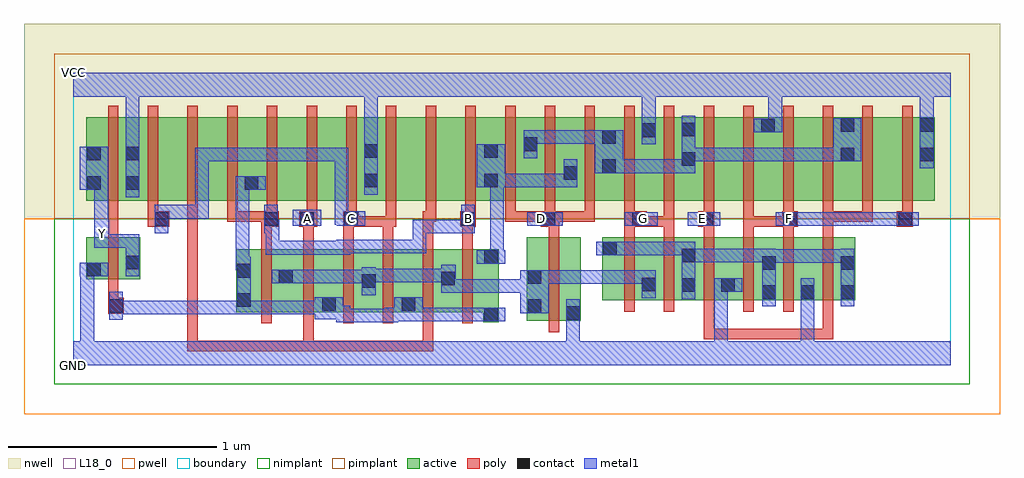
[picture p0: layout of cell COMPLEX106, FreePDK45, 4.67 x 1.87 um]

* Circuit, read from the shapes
.subckt COMPLEX106 A B C D E F G GND VCC Y
M1 Y n1 GND VSUBS nfet w=0.2u l=0.05u
M2 n2 B n1 VSUBS nfet w=0.3u l=0.05u m=2
M3 n1 A n2 VSUBS nfet w=0.3u l=0.05u m=2
M4 n2 C n1 VSUBS nfet w=0.3u l=0.05u m=2
M5 GND D n2 VSUBS nfet w=0.4u l=0.05u
M6 n2 G n3 VSUBS nfet w=0.3u l=0.05u m=2
M7 GND E n3 VSUBS nfet w=0.3u l=0.05u m=2
M8 n3 F GND VSUBS nfet w=0.3u l=0.05u m=2
M9 VCC n1 Y n4 pfet w=0.4u l=0.05u
M10 n5 C VCC n4 pfet w=0.4u l=0.05u
M11 n6 A n5 n4 pfet w=0.4u l=0.05u
M12 n1 B n6 n4 pfet w=0.4u l=0.05u
M13 n7 B n1 n4 pfet w=0.4u l=0.05u
M14 n8 A n7 n4 pfet w=0.4u l=0.05u
M15 VCC C n8 n4 pfet w=0.4u l=0.05u
M16 n9 C VCC n4 pfet w=0.4u l=0.05u
M17 n10 A n9 n4 pfet w=0.4u l=0.05u
M18 n1 B n10 n4 pfet w=0.4u l=0.05u
M19 n11 D n1 n4 pfet w=0.4u l=0.05u m=3
M20 VCC G n11 n4 pfet w=0.4u l=0.05u m=2
M21 n12 E n11 n4 pfet w=0.4u l=0.05u
M22 VCC F n12 n4 pfet w=0.4u l=0.05u
M23 n13 F VCC n4 pfet w=0.4u l=0.05u
M24 n11 E n13 n4 pfet w=0.4u l=0.05u
M25 n14 E n11 n4 pfet w=0.4u l=0.05u
M26 VCC F n14 n4 pfet w=0.4u l=0.05u
.ends

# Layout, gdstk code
import gdstk
lib = gdstk.Library(unit=1e-6, precision=1e-09)
def R(c, l, rs):  # rectangles x0, y0, x1, y1
    for r in rs: c.add(gdstk.rectangle(r[:2], r[2:], *l))
def A(c, l, x, y, w, h, nx, ny, dx, dy):  # array of equal rectangles
    R(c, l, [(x+i*dx, y+j*dy, x+i*dx+w, y+j*dy+h) for i in range(nx) for j in range(ny)])
active = (1, 0)
pwell = (2, 0)
nwell = (3, 0)
nimplant = (4, 0)
pimplant = (5, 0)
poly = (9, 0)
contact = (10, 0)
metal1 = (11, 0)
L18_0 = (18, 0)
boundary = (235, 0)

complex106 = lib.new_cell('COMPLEX106')
A(complex106, active, 1.187, 0.255, 0.265, 0.3, 3, 1, 0.19, 0)
A(complex106, active, 0.247, 0.787, 0.23, 0.4, 3, 1, 0.57, 0)
A(complex106, active, 0.477, 0.787, 0.19, 0.4, 3, 1, 0.57, 0)
A(complex106, active, 2.527, 0.787, 0.075, 0.4, 3, 1, 0.19, 0)
A(complex106, active, 2.907, 0.787, 0.23, 0.4, 3, 1, 0.38, 0)
A(complex106, active, 3.137, 0.787, 0.225, 0.4, 3, 1, 0.38, 0)
R(complex106, active, [(1.962,0.205,2.037,0.555), (2.17,0.212,2.43,0.612), (2.17,0.212,2.245,0.612), (2.355,0.212,2.43,0.492), (0.78,0.255,0.855,0.555), (0.78,0.255,1.055,0.555), (0.98,0.255,1.262,0.555), (1.187,0.255,1.262,0.437), (1.567,0.255,1.642,0.437), (1.757,0.255,2.037,0.555), (2.532,0.312,2.792,0.612), (2.717,0.312,2.982,0.612), (2.717,0.312,2.792,0.597), (2.907,0.312,2.982,0.612), (2.907,0.312,3.172,0.612), (3.097,0.312,3.367,0.612), (3.097,0.312,3.172,0.597), (3.292,0.312,3.367,0.612), (3.292,0.312,3.552,0.612), (3.477,0.312,3.742,0.612), (3.477,0.312,3.552,0.437), (3.667,0.312,3.742,0.612), (0.98,0.33,1.055,0.462), (1.377,0.33,1.452,0.517), (1.757,0.33,1.832,0.452), (2.532,0.33,2.607,0.612), (0.062,0.412,0.137,0.612), (0.062,0.412,0.322,0.612), (0.247,0.412,0.322,0.612), (0.062,0.787,0.322,1.187), (0.062,0.787,0.137,1.187), (0.247,0.787,0.322,1.187), (0.667,0.787,0.892,1.187), (0.817,0.787,0.892,1.07), (1.237,0.787,1.462,1.187), (1.387,0.787,1.462,1.187), (1.807,0.787,2.037,1.187), (1.962,0.787,2.037,1.187), (1.962,0.787,2.227,1.187), (2.152,0.787,2.417,1.187), (2.342,0.787,2.602,1.187), (2.342,0.787,2.417,1.07), (2.527,0.787,2.792,1.187), (2.717,0.787,2.982,1.187), (3.667,0.787,3.742,1.187), (4.047,0.787,4.122,1.187), (2.152,0.802,2.227,1.187), (3.287,0.827,3.362,1.187)])
R(complex106, pwell, [(-0.235,-0.235,4.435,0.7)])
R(complex106, nwell, [(-0.235,0.7,4.435,1.635)])
R(complex106, nimplant, [(-0.09,-0.09,4.29,0.7)])
R(complex106, pimplant, [(-0.09,0.7,4.29,1.49)])
A(complex106, poly, 1.102, 0.2, 0.05, 0.41, 5, 1, 0.19, 0)
A(complex106, poly, 2.637, 0.257, 0.05, 0.41, 6, 1, 0.19, 0)
A(complex106, poly, 1.102, 0.56, 0.05, 0.152, 3, 1, 0.19, 0)
A(complex106, poly, 2.637, 0.617, 0.05, 0.095, 5, 1, 0.19, 0)
A(complex106, poly, 0.737, 0.687, 0.05, 0.095, 4, 1, 0.19, 0)
A(complex106, poly, 1.687, 0.687, 0.05, 0.095, 6, 1, 0.19, 0)
A(complex106, poly, 3.397, 0.687, 0.05, 0.095, 4, 1, 0.19, 0)
A(complex106, poly, 0.167, 0.732, 0.05, 0.51, 21, 1, 0.19, 0)
R(complex106, poly, [(0.547,0.067,0.597,0.117), (0.547,0.067,0.597,0.117), (0.547,0.067,0.597,0.117), (0.547,0.067,0.597,0.117), (0.547,0.067,0.597,0.117), (0.547,0.067,0.597,0.117), (0.547,0.067,0.597,0.117), (0.547,0.067,0.597,0.117), (0.547,0.067,0.597,0.117), (0.547,0.067,0.73,0.117), (0.547,0.067,0.597,0.782), (0.68,0.067,0.73,0.117), (0.68,0.067,0.73,0.117), (0.68,0.067,0.73,0.117), (0.68,0.067,1,0.117), (0.95,0.067,1,0.117), (0.95,0.067,1,0.117), (0.95,0.067,1,0.117), (0.95,0.067,1.152,0.117), (1.102,0.067,1.152,0.117), (1.102,0.067,1.152,0.117), (1.102,0.067,1.152,0.117), (1.102,0.067,1.152,0.25), (1.102,0.067,1.285,0.117), (1.235,0.067,1.285,0.117), (1.235,0.067,1.285,0.117), (1.235,0.067,1.285,0.117), (1.235,0.067,1.59,0.117), (1.54,0.067,1.59,0.117), (1.54,0.067,1.59,0.117), (1.54,0.067,1.59,0.117), (1.54,0.067,1.722,0.117), (1.672,0.067,1.722,0.117), (1.672,0.067,1.722,0.117), (1.672,0.067,1.722,0.117), (1.672,0.067,1.722,0.25), (3.017,0.125,3.067,0.175), (3.017,0.125,3.067,0.175), (3.017,0.125,3.067,0.175), (3.017,0.125,3.067,0.307), (3.017,0.125,3.31,0.175), (3.26,0.125,3.31,0.175), (3.26,0.125,3.31,0.175), (3.26,0.125,3.31,0.175), (3.26,0.125,3.505,0.175), (3.455,0.125,3.505,0.175), (3.455,0.125,3.637,0.175), (3.587,0.125,3.637,0.175), (3.587,0.125,3.637,0.175), (3.587,0.125,3.637,0.175), (3.587,0.125,3.637,0.307), (2.275,0.157,2.325,0.667), (0.9,0.2,0.95,0.61), (0.167,0.247,0.242,0.322), (0.167,0.272,0.217,0.407), (0.167,0.357,0.217,0.667), (0.9,0.56,0.95,0.712), (1.672,0.56,1.722,0.737), (1.862,0.56,1.912,0.712), (0.167,0.617,0.217,0.737), (2.275,0.617,2.325,0.712), (3.587,0.617,3.637,0.737), (0.357,0.662,0.46,0.737), (0.9,0.662,0.985,0.737), (1.082,0.662,1.167,0.737), (1.292,0.662,1.367,0.737), (1.317,0.662,1.417,0.712), (1.367,0.662,1.417,0.712), (1.367,0.662,1.532,0.712), (1.482,0.662,1.547,0.712), (1.497,0.662,1.547,0.782), (1.852,0.662,1.927,0.737), (2.237,0.662,2.325,0.737), (2.637,0.662,2.745,0.737), (2.695,0.662,2.877,0.712), (2.827,0.662,2.877,0.712), (2.827,0.662,2.877,0.712), (2.827,0.662,2.877,0.712), (2.827,0.662,2.877,0.782), (2.992,0.662,3.067,0.737), (3.207,0.662,3.257,0.712), (3.207,0.662,3.257,0.712), (3.207,0.662,3.257,0.712), (3.207,0.662,3.257,0.782), (3.207,0.662,3.442,0.712), (3.392,0.662,3.467,0.737), (3.942,0.662,4.017,0.737), (0.167,0.687,0.217,0.782), (0.167,0.687,0.217,0.737), (0.357,0.687,0.407,0.782), (0.737,0.687,0.787,0.737), (0.737,0.687,0.95,0.737), (0.9,0.687,0.95,0.737), (0.9,0.687,0.95,0.737), (1.672,0.687,1.737,0.737), (2.067,0.687,2.117,0.737), (2.067,0.687,2.287,0.737), (2.237,0.687,2.287,0.737), (2.237,0.687,2.287,0.737), (2.275,0.687,2.497,0.737), (2.447,0.687,2.497,0.737), (2.447,0.687,2.497,0.737), (2.447,0.687,2.497,0.737), (3.017,0.687,3.067,0.782), (3.587,0.687,3.637,0.737), (3.587,0.687,3.827,0.737), (3.777,0.687,3.827,0.737), (3.777,0.687,3.827,0.737), (3.777,0.687,3.827,0.737)])
R(complex106, contact, [(1.967,0.21,2.032,0.275), (2.36,0.217,2.425,0.282), (2.175,0.25,2.24,0.315), (0.172,0.252,0.237,0.317), (1.192,0.26,1.257,0.325), (1.572,0.26,1.637,0.325), (0.785,0.28,0.85,0.345), (3.297,0.317,3.362,0.382), (3.482,0.317,3.547,0.382), (3.672,0.317,3.737,0.382), (2.912,0.352,2.977,0.417), (3.102,0.352,3.167,0.417), (2.722,0.355,2.787,0.42), (1.382,0.37,1.447,0.435), (1.762,0.382,1.827,0.447), (2.175,0.39,2.24,0.455), (0.985,0.392,1.05,0.457), (0.785,0.42,0.85,0.485), (0.067,0.425,0.132,0.49), (3.297,0.457,3.362,0.522), (3.672,0.457,3.737,0.522), (0.252,0.46,0.317,0.525), (1.967,0.485,2.032,0.55), (2.912,0.492,2.977,0.557), (2.537,0.527,2.602,0.592), (0.39,0.667,0.455,0.732), (0.915,0.667,0.98,0.732), (1.087,0.667,1.152,0.732), (1.297,0.667,1.362,0.732), (1.857,0.667,1.922,0.732), (2.242,0.667,2.307,0.732), (2.675,0.667,2.74,0.732), (2.997,0.667,3.062,0.732), (3.397,0.667,3.462,0.732), (3.947,0.667,4.012,0.732), (0.067,0.84,0.132,0.905), (0.252,0.84,0.317,0.905), (0.822,0.84,0.887,0.905), (1.392,0.852,1.457,0.917), (1.967,0.852,2.032,0.917), (2.347,0.887,2.412,0.952), (2.532,0.92,2.597,0.985), (2.912,0.955,2.977,1.02), (3.672,0.977,3.737,1.042), (4.052,0.977,4.117,1.042), (0.067,0.98,0.132,1.045), (0.252,0.98,0.317,1.045), (1.392,0.992,1.457,1.057), (1.967,0.992,2.032,1.057), (2.157,1.025,2.222,1.09), (2.532,1.06,2.597,1.125), (2.722,1.092,2.787,1.157), (2.912,1.095,2.977,1.16), (3.292,1.115,3.357,1.18), (3.672,1.117,3.737,1.182), (4.052,1.117,4.117,1.182)])
R(complex106, metal1, [(0,0,4.2,0.115), (0.035,0.05,0.1,0.115), (0.035,0.05,0.1,0.115), (0.035,0.05,0.1,0.115), (0.035,0.05,0.1,0.115), (0.035,0.05,0.1,0.115), (0.035,0.05,0.1,0.115), (0.035,0.05,0.1,0.49), (2.36,0.05,2.425,0.115), (2.36,0.05,2.425,0.115), (2.36,0.05,2.425,0.247), (3.067,0.05,3.132,0.115), (3.067,0.05,3.132,0.115), (3.067,0.05,3.132,0.34), (3.482,0.05,3.547,0.115), (3.482,0.05,3.547,0.115), (3.482,0.05,3.547,0.115), (3.482,0.05,3.547,0.115), (3.482,0.05,3.547,0.347), (2.36,0.182,2.425,0.317), (1.26,0.205,1.455,0.27), (1.26,0.205,1.325,0.285), (1.39,0.205,1.455,0.27), (1.39,0.205,1.555,0.27), (1.49,0.205,1.555,0.275), (1.49,0.21,1.602,0.275), (1.537,0.21,1.672,0.325), (1.607,0.21,1.692,0.275), (1.627,0.21,1.692,0.275), (1.627,0.21,1.86,0.275), (1.795,0.21,1.86,0.275), (1.795,0.21,1.86,0.275), (1.795,0.21,1.86,0.275), (1.795,0.21,1.997,0.275), (1.932,0.21,2.067,0.275), (0.172,0.217,0.237,0.352), (1.157,0.22,1.292,0.325), (1.227,0.22,1.325,0.285), (0.172,0.245,0.375,0.31), (0.31,0.245,0.375,0.31), (0.31,0.245,0.375,0.31), (0.31,0.245,0.375,0.31), (0.31,0.245,0.512,0.31), (0.447,0.245,0.512,0.31), (0.447,0.245,0.65,0.31), (0.585,0.245,0.65,0.31), (0.585,0.245,0.65,0.31), (0.585,0.245,0.65,0.31), (0.585,0.245,0.787,0.31), (0.722,0.245,0.787,0.31), (0.722,0.245,0.85,0.31), (0.785,0.245,0.85,0.52), (0.785,0.245,0.925,0.31), (0.86,0.245,0.925,0.31), (0.86,0.245,1.085,0.31), (1.02,0.245,1.085,0.31), (1.02,0.245,1.117,0.31), (1.052,0.245,1.117,0.31), (1.052,0.245,1.222,0.31), (2.14,0.25,2.275,0.455), (3.067,0.275,3.132,0.34), (3.067,0.275,3.132,0.417), (3.297,0.282,3.362,0.557), (3.482,0.282,3.547,0.417), (3.672,0.282,3.737,0.557), (2.912,0.317,2.977,0.592), (2.722,0.32,2.787,0.455), (1.382,0.335,1.447,0.47), (1.762,0.347,1.83,0.482), (1.765,0.347,1.83,0.412), (1.765,0.347,1.83,0.412), (1.765,0.347,2.06,0.412), (1.995,0.347,2.06,0.412), (1.995,0.347,2.06,0.412), (1.995,0.347,2.06,0.412), (1.995,0.347,2.205,0.412), (3.067,0.352,3.202,0.417), (2.21,0.39,2.412,0.455), (2.347,0.39,2.412,0.455), (2.347,0.39,2.412,0.455), (2.347,0.39,2.412,0.455), (2.347,0.39,2.565,0.455), (2.5,0.39,2.565,0.455), (2.5,0.39,2.565,0.455), (2.5,0.39,2.565,0.455), (2.5,0.39,2.702,0.455), (2.637,0.39,2.702,0.455), (2.637,0.39,2.787,0.455), (0.95,0.392,1.085,0.457), (1.02,0.392,1.117,0.457), (1.052,0.392,1.117,0.457), (1.052,0.392,1.222,0.457), (1.157,0.392,1.222,0.457), (1.157,0.392,1.417,0.457), (1.352,0.392,1.417,0.457), (1.352,0.392,1.447,0.457), (1.382,0.397,1.555,0.462), (1.49,0.397,1.555,0.462), (1.49,0.397,1.69,0.462), (1.625,0.397,1.69,0.462), (1.625,0.397,1.692,0.462), (1.627,0.397,1.692,0.462), (1.627,0.397,1.827,0.462), (0.032,0.425,0.167,0.49), (0.252,0.425,0.317,0.56), (0.777,0.455,0.842,0.52), (0.777,0.455,0.842,0.52), (0.777,0.455,0.842,0.52), (0.777,0.455,0.842,0.52), (0.777,0.455,0.842,0.905), (0.777,0.455,0.85,0.52), (0.785,0.455,0.85,0.52), (1.932,0.485,2.067,0.55), (1.995,0.485,2.06,0.55), (1.995,0.485,2.06,0.55), (1.995,0.485,2.06,0.917), (3.297,0.49,3.362,0.555), (3.297,0.49,3.362,0.555), (3.297,0.49,3.565,0.555), (3.5,0.49,3.565,0.555), (3.5,0.49,3.635,0.555), (3.57,0.49,3.635,0.555), (3.57,0.49,3.737,0.555), (2.912,0.492,2.977,0.557), (2.912,0.492,2.977,0.557), (2.912,0.492,3.115,0.557), (3.05,0.492,3.115,0.557), (3.05,0.492,3.115,0.557), (3.05,0.492,3.115,0.557), (3.05,0.492,3.362,0.557), (0.252,0.495,0.317,0.627), (2.502,0.527,2.637,0.592), (2.572,0.527,2.702,0.592), (2.637,0.527,2.702,0.592), (2.637,0.527,2.84,0.592), (2.775,0.527,2.84,0.592), (2.775,0.527,2.84,0.592), (2.775,0.527,2.84,0.592), (2.775,0.527,2.977,0.592), (0.922,0.53,0.987,0.595), (0.922,0.53,1.117,0.595), (0.922,0.53,0.987,0.697), (1.052,0.53,1.117,0.595), (1.052,0.53,1.29,0.595), (1.225,0.53,1.29,0.595), (1.225,0.53,1.325,0.595), (1.26,0.53,1.325,0.6), (1.26,0.535,1.455,0.6), (1.39,0.535,1.455,0.6), (1.39,0.535,1.555,0.6), (1.49,0.535,1.555,0.6), (1.49,0.535,1.69,0.6), (1.625,0.535,1.69,0.6), (1.625,0.535,1.69,0.697), (0.102,0.562,0.172,0.697), (0.107,0.562,0.317,0.627), (0.252,0.562,0.317,0.627), (0.102,0.632,0.167,0.697), (0.102,0.632,0.167,0.697), (0.102,0.632,0.167,0.905), (0.39,0.632,0.455,0.767), (0.915,0.632,0.98,0.767), (0.915,0.632,0.987,0.697), (0.922,0.632,0.987,0.697), (1.625,0.632,1.69,0.697), (1.625,0.632,1.692,0.697), (1.627,0.632,1.692,0.697), (1.627,0.632,1.86,0.697), (1.795,0.632,1.86,0.697), (1.795,0.632,1.922,0.697), (1.857,0.632,1.922,0.767), (1.052,0.667,1.187,0.745), (1.262,0.667,1.397,0.737), (2.172,0.667,2.342,0.732), (2.64,0.667,2.797,0.732), (2.942,0.667,3.097,0.732), (3.362,0.667,3.497,0.732), (3.432,0.667,3.565,0.732), (3.5,0.667,3.565,0.732), (3.5,0.667,3.635,0.732), (3.57,0.667,3.635,0.732), (3.57,0.667,3.84,0.732), (3.775,0.667,3.84,0.732), (3.775,0.667,3.84,0.732), (3.775,0.667,3.84,0.732), (3.775,0.667,3.977,0.732), (3.912,0.667,3.977,0.732), (3.912,0.667,3.977,0.732), (3.912,0.667,4.047,0.732), (1.252,0.672,1.317,0.737), (1.252,0.672,1.327,0.737), (1.252,0.672,1.317,1.042), (0.39,0.702,0.512,0.767), (0.447,0.702,0.512,0.767), (0.447,0.702,0.65,0.767), (0.585,0.702,0.65,0.767), (0.585,0.702,0.65,0.767), (0.585,0.702,0.65,0.767), (0.585,0.702,0.65,0.767), (0.585,0.702,0.65,0.767), (0.585,0.702,0.65,1.042), (0.252,0.805,0.317,1.08), (1.392,0.817,1.457,1.092), (0.032,0.84,0.167,1.045), (0.777,0.84,0.922,0.905), (1.932,0.852,2.067,1.057), (2.002,0.852,2.067,0.917), (2.002,0.852,2.067,0.917), (2.002,0.852,2.275,0.917), (2.21,0.852,2.275,0.917), (2.21,0.852,2.412,0.917), (2.347,0.852,2.412,0.917), (2.347,0.852,2.412,0.917), (2.347,0.852,2.412,0.987), (2.497,0.92,2.632,1.125), (2.567,0.92,2.702,0.985), (2.637,0.92,2.702,0.985), (2.637,0.92,2.84,0.985), (2.775,0.92,2.84,0.985), (2.775,0.92,2.84,0.985), (2.775,0.92,2.84,0.985), (2.775,0.92,2.977,0.985), (2.912,0.92,2.977,1.195), (4.052,0.942,4.117,1.217), (0.585,0.977,0.65,1.042), (0.585,0.977,0.787,1.042), (0.722,0.977,0.787,1.042), (0.722,0.977,0.787,1.042), (0.722,0.977,0.787,1.042), (0.722,0.977,0.98,1.042), (0.915,0.977,0.98,1.042), (0.915,0.977,1.085,1.042), (1.02,0.977,1.085,1.042), (1.02,0.977,1.085,1.042), (1.02,0.977,1.085,1.042), (1.02,0.977,1.117,1.042), (1.052,0.977,1.117,1.042), (1.052,0.977,1.317,1.042), (1.252,0.977,1.317,1.042), (2.912,0.977,2.977,1.042), (2.912,0.977,2.977,1.042), (2.912,0.977,3.115,1.042), (3.05,0.977,3.115,1.042), (3.05,0.977,3.115,1.042), (3.05,0.977,3.115,1.042), (3.05,0.977,3.252,1.042), (3.187,0.977,3.252,1.042), (3.187,0.977,3.252,1.042), (3.187,0.977,3.252,1.042), (3.187,0.977,3.565,1.042), (3.5,0.977,3.565,1.042), (3.5,0.977,3.702,1.042), (3.637,0.977,3.702,1.042), (3.637,0.977,3.702,1.042), (3.637,0.977,3.772,1.182), (2.157,0.99,2.222,1.125), (0.252,1.015,0.317,1.35), (1.392,1.027,1.457,1.35), (2.722,1.057,2.787,1.192), (2.157,1.06,2.222,1.125), (2.157,1.06,2.222,1.125), (2.157,1.06,2.425,1.125), (2.36,1.06,2.425,1.125), (2.36,1.06,2.562,1.125), (2.497,1.06,2.562,1.125), (2.497,1.06,2.562,1.125), (3.257,1.115,3.392,1.18), (3.327,1.115,3.392,1.35), (2.722,1.127,2.787,1.35), (4.052,1.152,4.117,1.35), (0,1.285,4.2,1.4)])
R(complex106, L18_0, [(0,0,4.2,0.115), (0.035,0.05,0.1,0.115), (0.035,0.05,0.1,0.115), (0.035,0.05,0.1,0.115), (0.035,0.05,0.1,0.115), (0.035,0.05,0.1,0.115), (0.035,0.05,0.1,0.115), (0.035,0.05,0.1,0.49), (2.36,0.05,2.425,0.115), (2.36,0.05,2.425,0.115), (2.36,0.05,2.425,0.247), (3.067,0.05,3.132,0.115), (3.067,0.05,3.132,0.115), (3.067,0.05,3.132,0.34), (3.482,0.05,3.547,0.115), (3.482,0.05,3.547,0.115), (3.482,0.05,3.547,0.115), (3.482,0.05,3.547,0.115), (3.482,0.05,3.547,0.347), (2.36,0.182,2.425,0.317), (3.067,0.275,3.132,0.34), (3.067,0.275,3.132,0.417), (3.482,0.282,3.547,0.417), (3.067,0.352,3.202,0.417), (0.032,0.425,0.167,0.49), (0.252,0.425,0.317,0.56), (0.252,0.495,0.317,0.627), (0.922,0.53,0.987,0.595), (0.922,0.53,0.987,0.697), (0.922,0.53,1.117,0.595), (1.052,0.53,1.117,0.595), (1.052,0.53,1.29,0.595), (1.225,0.53,1.29,0.595), (1.225,0.53,1.325,0.595), (1.26,0.53,1.325,0.6), (1.26,0.535,1.455,0.6), (1.39,0.535,1.455,0.6), (1.39,0.535,1.555,0.6), (1.49,0.535,1.555,0.6), (1.49,0.535,1.69,0.6), (1.625,0.535,1.69,0.6), (1.625,0.535,1.69,0.697), (0.102,0.562,0.172,0.697), (0.107,0.562,0.317,0.627), (0.252,0.562,0.317,0.627), (0.107,0.597,0.172,0.662), (0.102,0.632,0.167,0.697), (0.102,0.632,0.167,0.697), (0.102,0.632,0.167,0.905), (0.39,0.632,0.455,0.767), (0.915,0.632,0.98,0.767), (0.915,0.632,0.987,0.697), (0.922,0.632,0.987,0.697), (1.625,0.632,1.69,0.697), (1.625,0.632,1.692,0.697), (1.627,0.632,1.692,0.697), (1.627,0.632,1.86,0.697), (1.795,0.632,1.86,0.697), (1.795,0.632,1.922,0.697), (1.857,0.632,1.922,0.767), (1.052,0.667,1.187,0.745), (1.087,0.667,1.152,0.732), (1.262,0.667,1.397,0.737), (1.297,0.667,1.362,0.732), (1.857,0.667,1.922,0.732), (2.172,0.667,2.342,0.732), (2.207,0.667,2.272,0.732), (2.64,0.667,2.797,0.732), (2.697,0.667,2.762,0.732), (2.942,0.667,3.097,0.732), (2.977,0.667,3.042,0.732), (3.362,0.667,3.497,0.732), (3.397,0.667,3.462,0.732), (3.432,0.667,3.565,0.732), (3.5,0.667,3.565,0.732), (3.5,0.667,3.635,0.732), (3.57,0.667,3.635,0.732), (3.57,0.667,3.84,0.732), (3.775,0.667,3.84,0.732), (3.775,0.667,3.84,0.732), (3.775,0.667,3.84,0.732), (3.775,0.667,3.977,0.732), (3.912,0.667,3.977,0.732), (3.912,0.667,3.977,0.732), (3.912,0.667,4.047,0.732), (1.252,0.672,1.317,0.737), (1.252,0.672,1.317,1.042), (1.252,0.672,1.327,0.737), (0.39,0.702,0.512,0.767), (0.447,0.702,0.512,0.767), (0.447,0.702,0.65,0.767), (0.585,0.702,0.65,0.767), (0.585,0.702,0.65,0.767), (0.585,0.702,0.65,0.767), (0.585,0.702,0.65,0.767), (0.585,0.702,0.65,0.767), (0.585,0.702,0.65,1.042), (0.252,0.805,0.317,1.08), (1.392,0.817,1.457,1.092), (0.032,0.84,0.167,1.045), (4.052,0.942,4.117,1.217), (0.585,0.977,0.65,1.042), (0.585,0.977,0.787,1.042), (0.722,0.977,0.787,1.042), (0.722,0.977,0.787,1.042), (0.722,0.977,0.787,1.042), (0.722,0.977,0.98,1.042), (0.915,0.977,0.98,1.042), (0.915,0.977,1.085,1.042), (1.02,0.977,1.085,1.042), (1.02,0.977,1.085,1.042), (1.02,0.977,1.085,1.042), (1.02,0.977,1.117,1.042), (1.052,0.977,1.117,1.042), (1.052,0.977,1.317,1.042), (1.252,0.977,1.317,1.042), (0.252,1.015,0.317,1.35), (1.392,1.027,1.457,1.35), (2.722,1.057,2.787,1.192), (3.257,1.115,3.392,1.18), (3.327,1.115,3.392,1.35), (2.722,1.127,2.787,1.35), (4.052,1.152,4.117,1.35), (0,1.285,4.2,1.4)])
R(complex106, boundary, [(0,0,4.2,1.4)])
complex106.add(gdstk.Label('A', (1.12,0.7), layer=11, texttype=0))
complex106.add(gdstk.Label('B', (1.89,0.7), layer=11, texttype=0))
complex106.add(gdstk.Label('C', (1.33,0.7), layer=11, texttype=0))
complex106.add(gdstk.Label('D', (2.24,0.7), layer=11, texttype=0))
complex106.add(gdstk.Label('E', (3.01,0.7), layer=11, texttype=0))
complex106.add(gdstk.Label('F', (3.43,0.7), layer=11, texttype=0))
complex106.add(gdstk.Label('G', (2.73,0.7), layer=11, texttype=0))
complex106.add(gdstk.Label('Y', (0.14,0.63), layer=11, texttype=0))
complex106.add(gdstk.Label('VCC', (0,1.4), layer=11, texttype=0))
complex106.add(gdstk.Label('GND', (0,0), layer=11, texttype=0))

lib.write_gds('COMPLEX106.gds')
